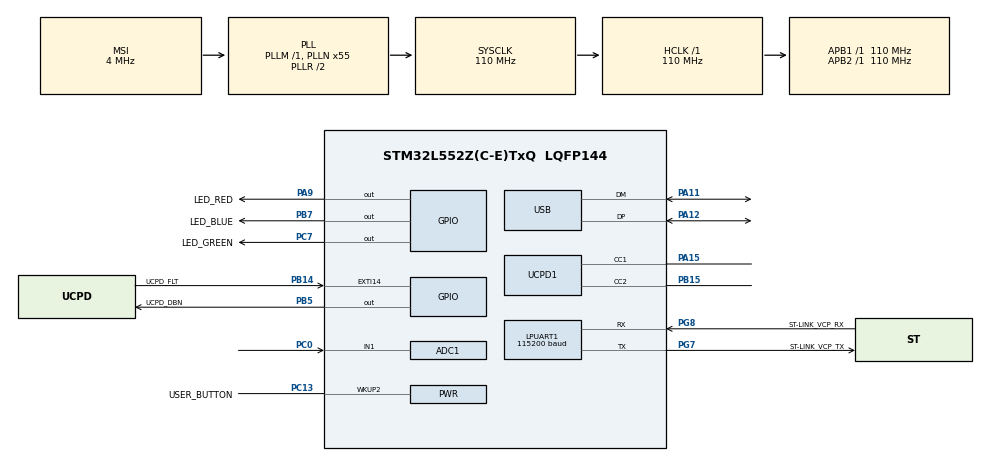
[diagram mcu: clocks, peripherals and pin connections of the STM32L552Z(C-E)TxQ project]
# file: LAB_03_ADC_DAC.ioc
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ADC1.Channel-0\#ChannelRegularConversion=ADC_CHANNEL_1
ADC1.ContinuousConvMode=DISABLE
ADC1.NbrOfConversionFlag=1
ADC1.OffsetNumber-0\#ChannelRegularConversion=ADC_OFFSET_NONE
ADC1.Rank-0\#ChannelRegularConversion=1
ADC1.SamplingTime-0\#ChannelRegularConversion=ADC_SAMPLETIME_2CYCLES_5
ADC1.master=1
LPUART1.BaudRate=115200
Mcu.Family=STM32L5
Mcu.Name=STM32L552Z(C-E)TxQ
Mcu.Package=LQFP144
Mcu.TrustZone=disable
NVIC.PriorityGroup=NVIC_PRIORITYGROUP_3
PA11.Mode=Device
PA11.Signal=USB_DM
PA12.Mode=Device
PA12.Signal=USB_DP
PA13\ (JTMS/SWDIO).Mode=Trace_Asynchronous_SW
PA13\ (JTMS/SWDIO).Signal=DEBUG_JTMS-SWDIO
PA14\ (JTCK/SWCLK).Mode=Trace_Asynchronous_SW
PA14\ (JTCK/SWCLK).Signal=DEBUG_JTCK-SWCLK
PA15\ (JTDI).Mode=Source_AllSignals
PA15\ (JTDI).Signal=UCPD1_CC1
PA9.GPIO_Label=LED_RED
PA9.Signal=GPIO_Output
PB14.GPIO_Label=UCPD_FLT
PB14.Signal=GPXTI14
PB15.Mode=Source_AllSignals
PB15.Signal=UCPD1_CC2
PB3\ (JTDO/TRACESWO).Mode=Trace_Asynchronous_SW
PB3\ (JTDO/TRACESWO).Signal=DEBUG_JTDO-SWO
PB5.GPIO_Label=UCPD_DBN
PB5.Signal=GPIO_Output
PB7.GPIO_Label=LED_BLUE
PB7.Signal=GPIO_Output
PC0.Signal=ADCx_IN1
PC13.GPIO_Label=USER_BUTTON
PC13.Mode=WakeUp1
PC13.Signal=PWR_WKUP2
PC14-OSC32_IN\ (PC14).Mode=LSE-External-Oscillator
PC14-OSC32_IN\ (PC14).Signal=RCC_OSC32_IN
PC15-OSC32_OUT\ (PC15).Mode=LSE-External-Oscillator
PC15-OSC32_OUT\ (PC15).Signal=RCC_OSC32_OUT
PC7.GPIO_Label=LED_GREEN
PC7.Signal=GPIO_Output
PG7.GPIO_Label=ST-LINK_VCP_TX
PG7.Mode=Asynchronous
PG7.Signal=LPUART1_TX
PG8.GPIO_Label=ST-LINK_VCP_RX
PG8.Mode=Asynchronous
PG8.Signal=LPUART1_RX
ProjectManager.HeapSize=0x200
ProjectManager.StackSize=0x400
ProjectManager.TargetToolchain=STM32CubeIDE
RCC.ADCCLockSelection=RCC_ADCCLKSOURCE_SYSCLK
RCC.ADCFreq_Value=110000000
RCC.AHBFreq_Value=110000000
RCC.APB1Freq_Value=110000000
RCC.APB1TimFreq_Value=110000000
RCC.APB2Freq_Value=110000000
RCC.APB2TimFreq_Value=110000000
RCC.CK48CLockSelection=RCC_USBCLKSOURCE_HSI48
RCC.CortexFreq_Value=110000000
RCC.HCLKFreq_Value=110000000
RCC.HSE_VALUE=8000000
RCC.HSI48_VALUE=48000000
RCC.HSI_VALUE=16000000
RCC.MSI_VALUE=4000000
RCC.PLLN=55
RCC.PLLSAI1N=24
RCC.RTCClockSelection=RCC_RTCCLKSOURCE_LSE
RCC.SYSCLKFreq_VALUE=110000000
RCC.SYSCLKSource=RCC_SYSCLKSOURCE_PLLCLK
RCC.USBFreq_Value=48000000
RCC.VCOOutputFreq_Value=220000000
SH.ADCx_IN1.0=ADC1_IN1,IN1-Single-Ended
VP_ICACHE_VS_ICACHE.Mode=DirectMappedCache
VP_PWR_VS_DBSignals.Mode=DisableDeadBatterySignals
VP_RTC_VS_RTC_Activate.Mode=RTC_Enabled
VREF+.Mode=InternalMode
VREF+.Signal=VREFBUF_OUT
board=NUCLEO-L552ZE-Q

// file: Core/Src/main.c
/* USER CODE BEGIN Header */
/**
  ******************************************************************************
  * @file           : main.c
  * @brief          : Main program body
  ******************************************************************************
  * @attention
  *
  * Copyright (c) 2025 STMicroelectronics.
  * All rights reserved.
  *
  * This software is licensed under terms that can be found in the LICENSE file
  * in the root directory of this software component.
  * If no LICENSE file comes with this software, it is provided AS-IS.
  *
  ******************************************************************************
  */
/* USER CODE END Header */
#include "main.h"

/* USER CODE BEGIN Includes */
#include <stdio.h>
#include <string.h>
#include <stdlib.h>

#include "EE340.h"
/* USER CODE END Includes */

/* USER CODE BEGIN PM */

// Timing Macros
#define POLL_DELAY 1000

// Calibration Factors
#define ADC_CALIBRATION_FACTOR 1.20		// 4.1V / 3.3V = 1.2424

/* USER CODE END PM */

ADC_HandleTypeDef hadc1;

UART_HandleTypeDef hlpuart1;

RTC_HandleTypeDef hrtc;

PCD_HandleTypeDef hpcd_USB_FS;

/* USER CODE BEGIN PV */

// Timers
uint32_t next_poll = 0;

/* USER CODE END PV */

void SystemClock_Config(void);
static void MX_GPIO_Init(void);
static void MX_ADC1_Init(void);
static void MX_ICACHE_Init(void);
static void MX_LPUART1_UART_Init(void);
static void MX_RTC_Init(void);
static void MX_UCPD1_Init(void);
static void MX_USB_PCD_Init(void);
/* USER CODE BEGIN PFP */

// Function Prototypes
void PrintOutput(uint32_t* raw, float* voltage);

/* USER CODE END PFP */

int main(void)
{
  /* USER CODE BEGIN 1 */

	// LAB 03 Variables
	uint32_t raw;

  /* USER CODE END 1 */

  /* MCU Configuration--------------------------------------------------------*/

  /* Reset of all peripherals, Initializes the Flash interface and the Systick. */
  HAL_Init();

  /* Configure the system clock */
  SystemClock_Config();

  /* Initialize all configured peripherals */
  MX_GPIO_Init();
  MX_ADC1_Init();
  MX_ICACHE_Init();
  MX_LPUART1_UART_Init();
  MX_RTC_Init();
  MX_UCPD1_Init();
  MX_USB_PCD_Init();
  /* USER CODE BEGIN 2 */

  // Buffer
  buffer_t BUFFER;
  INIT_Buffer(&BUFFER);

  /* USER CODE END 2 */

  /* Infinite loop */
  while (1)
  {

    /* USER CODE BEGIN 3 */

	  // Display the values to the user based on the delay macro
	  if (HAL_GetTick() > next_poll)
	  {
		  // Reset timer :)
		  next_poll = HAL_GetTick() + POLL_DELAY;

		  // Process current ADC Value
		  raw = processADC(&BUFFER);

		  // Convert ADC counts to a voltage and then apply correction factor
		  float voltage = ((raw / (float)4096) * (float)3.3) * ADC_CALIBRATION_FACTOR;
		  raw = raw * ADC_CALIBRATION_FACTOR;

		  // Display feedback to user
		  PrintOutput(&raw, &voltage);
	  }

	  // Else add new value to the buffer and update the running sum
	  else
	  {
		  // Process current ADC Value
		  processADC(&BUFFER);
	  }
  }
  /* USER CODE END 3 */
}

void SystemClock_Config(void)
{
  RCC_OscInitTypeDef RCC_OscInitStruct = {0};
  RCC_ClkInitTypeDef RCC_ClkInitStruct = {0};

  /** Configure the main internal regulator output voltage
  */
  if (HAL_PWREx_ControlVoltageScaling(PWR_REGULATOR_VOLTAGE_SCALE0) != HAL_OK)
  {
    Error_Handler();
  }

  /** Configure LSE Drive Capability
  */
  HAL_PWR_EnableBkUpAccess();
  __HAL_RCC_LSEDRIVE_CONFIG(RCC_LSEDRIVE_LOW);

  /** Initializes the RCC Oscillators according to the specified parameters
  * in the RCC_OscInitTypeDef structure.
  */
  RCC_OscInitStruct.OscillatorType = RCC_OSCILLATORTYPE_HSI48|RCC_OSCILLATORTYPE_LSE
                              |RCC_OSCILLATORTYPE_MSI;
  RCC_OscInitStruct.LSEState = RCC_LSE_ON;
  RCC_OscInitStruct.HSI48State = RCC_HSI48_ON;
  RCC_OscInitStruct.MSIState = RCC_MSI_ON;
  RCC_OscInitStruct.MSICalibrationValue = RCC_MSICALIBRATION_DEFAULT;
  RCC_OscInitStruct.MSIClockRange = RCC_MSIRANGE_6;
  RCC_OscInitStruct.PLL.PLLState = RCC_PLL_ON;
  RCC_OscInitStruct.PLL.PLLSource = RCC_PLLSOURCE_MSI;
  RCC_OscInitStruct.PLL.PLLM = 1;
  RCC_OscInitStruct.PLL.PLLN = 55;
  RCC_OscInitStruct.PLL.PLLP = RCC_PLLP_DIV7;
  RCC_OscInitStruct.PLL.PLLQ = RCC_PLLQ_DIV2;
  RCC_OscInitStruct.PLL.PLLR = RCC_PLLR_DIV2;
  if (HAL_RCC_OscConfig(&RCC_OscInitStruct) != HAL_OK)
  {
    Error_Handler();
  }

  /** Initializes the CPU, AHB and APB buses clocks
  */
  RCC_ClkInitStruct.ClockType = RCC_CLOCKTYPE_HCLK|RCC_CLOCKTYPE_SYSCLK
                              |RCC_CLOCKTYPE_PCLK1|RCC_CLOCKTYPE_PCLK2;
  RCC_ClkInitStruct.SYSCLKSource = RCC_SYSCLKSOURCE_PLLCLK;
  RCC_ClkInitStruct.AHBCLKDivider = RCC_SYSCLK_DIV1;
  RCC_ClkInitStruct.APB1CLKDivider = RCC_HCLK_DIV1;
  RCC_ClkInitStruct.APB2CLKDivider = RCC_HCLK_DIV1;

  if (HAL_RCC_ClockConfig(&RCC_ClkInitStruct, FLASH_LATENCY_5) != HAL_OK)
  {
    Error_Handler();
  }
}

static void MX_ADC1_Init(void)
{

  ADC_MultiModeTypeDef multimode = {0};
  ADC_ChannelConfTypeDef sConfig = {0};

  /** Common config
  */
  hadc1.Instance = ADC1;
  hadc1.Init.ClockPrescaler = ADC_CLOCK_ASYNC_DIV1;
  hadc1.Init.Resolution = ADC_RESOLUTION_12B;
  hadc1.Init.DataAlign = ADC_DATAALIGN_RIGHT;
  hadc1.Init.ScanConvMode = ADC_SCAN_DISABLE;
  hadc1.Init.EOCSelection = ADC_EOC_SINGLE_CONV;
  hadc1.Init.LowPowerAutoWait = DISABLE;
  hadc1.Init.ContinuousConvMode = DISABLE;
  hadc1.Init.NbrOfConversion = 1;
  hadc1.Init.DiscontinuousConvMode = DISABLE;
  hadc1.Init.ExternalTrigConv = ADC_SOFTWARE_START;
  hadc1.Init.ExternalTrigConvEdge = ADC_EXTERNALTRIGCONVEDGE_NONE;
  hadc1.Init.DMAContinuousRequests = DISABLE;
  hadc1.Init.Overrun = ADC_OVR_DATA_PRESERVED;
  hadc1.Init.OversamplingMode = DISABLE;
  if (HAL_ADC_Init(&hadc1) != HAL_OK)
  {
    Error_Handler();
  }

  /** Configure the ADC multi-mode
  */
  multimode.Mode = ADC_MODE_INDEPENDENT;
  if (HAL_ADCEx_MultiModeConfigChannel(&hadc1, &multimode) != HAL_OK)
  {
    Error_Handler();
  }

  /** Configure Regular Channel
  */
  sConfig.Channel = ADC_CHANNEL_1;
  sConfig.Rank = ADC_REGULAR_RANK_1;
  sConfig.SamplingTime = ADC_SAMPLETIME_2CYCLES_5;
  sConfig.SingleDiff = ADC_SINGLE_ENDED;
  sConfig.OffsetNumber = ADC_OFFSET_NONE;
  sConfig.Offset = 0;
  if (HAL_ADC_ConfigChannel(&hadc1, &sConfig) != HAL_OK)
  {
    Error_Handler();
  }

}

static void MX_ICACHE_Init(void)
{

  /** Enable instruction cache in 1-way (direct mapped cache)
  */
  if (HAL_ICACHE_ConfigAssociativityMode(ICACHE_1WAY) != HAL_OK)
  {
    Error_Handler();
  }
  if (HAL_ICACHE_Enable() != HAL_OK)
  {
    Error_Handler();
  }

}

static void MX_LPUART1_UART_Init(void)
{

  hlpuart1.Instance = LPUART1;
  hlpuart1.Init.BaudRate = 115200;
  hlpuart1.Init.WordLength = UART_WORDLENGTH_8B;
  hlpuart1.Init.StopBits = UART_STOPBITS_1;
  hlpuart1.Init.Parity = UART_PARITY_NONE;
  hlpuart1.Init.Mode = UART_MODE_TX_RX;
  hlpuart1.Init.HwFlowCtl = UART_HWCONTROL_NONE;
  hlpuart1.Init.OneBitSampling = UART_ONE_BIT_SAMPLE_DISABLE;
  hlpuart1.Init.ClockPrescaler = UART_PRESCALER_DIV1;
  hlpuart1.AdvancedInit.AdvFeatureInit = UART_ADVFEATURE_NO_INIT;
  hlpuart1.FifoMode = UART_FIFOMODE_DISABLE;
  if (HAL_UART_Init(&hlpuart1) != HAL_OK)
  {
    Error_Handler();
  }
  if (HAL_UARTEx_SetTxFifoThreshold(&hlpuart1, UART_TXFIFO_THRESHOLD_1_8) != HAL_OK)
  {
    Error_Handler();
  }
  if (HAL_UARTEx_SetRxFifoThreshold(&hlpuart1, UART_RXFIFO_THRESHOLD_1_8) != HAL_OK)
  {
    Error_Handler();
  }
  if (HAL_UARTEx_DisableFifoMode(&hlpuart1) != HAL_OK)
  {
    Error_Handler();
  }

}

static void MX_RTC_Init(void)
{

  RTC_PrivilegeStateTypeDef privilegeState = {0};

  /** Initialize RTC Only
  */
  hrtc.Instance = RTC;
  hrtc.Init.HourFormat = RTC_HOURFORMAT_24;
  hrtc.Init.AsynchPrediv = 127;
  hrtc.Init.SynchPrediv = 255;
  hrtc.Init.OutPut = RTC_OUTPUT_DISABLE;
  hrtc.Init.OutPutRemap = RTC_OUTPUT_REMAP_NONE;
  hrtc.Init.OutPutPolarity = RTC_OUTPUT_POLARITY_HIGH;
  hrtc.Init.OutPutType = RTC_OUTPUT_TYPE_OPENDRAIN;
  hrtc.Init.OutPutPullUp = RTC_OUTPUT_PULLUP_NONE;
  if (HAL_RTC_Init(&hrtc) != HAL_OK)
  {
    Error_Handler();
  }
  privilegeState.rtcPrivilegeFull = RTC_PRIVILEGE_FULL_NO;
  privilegeState.backupRegisterPrivZone = RTC_PRIVILEGE_BKUP_ZONE_NONE;
  privilegeState.backupRegisterStartZone2 = RTC_BKP_DR0;
  privilegeState.backupRegisterStartZone3 = RTC_BKP_DR0;
  if (HAL_RTCEx_PrivilegeModeSet(&hrtc, &privilegeState) != HAL_OK)
  {
    Error_Handler();
  }

}

static void MX_UCPD1_Init(void)
{

  LL_GPIO_InitTypeDef GPIO_InitStruct = {0};

  /* Peripheral clock enable */
  LL_APB1_GRP2_EnableClock(LL_APB1_GRP2_PERIPH_UCPD1);

  LL_AHB2_GRP1_EnableClock(LL_AHB2_GRP1_PERIPH_GPIOB);
  LL_AHB2_GRP1_EnableClock(LL_AHB2_GRP1_PERIPH_GPIOA);
  /**UCPD1 GPIO Configuration
  PB15   ------> UCPD1_CC2
  PA15 (JTDI)   ------> UCPD1_CC1
  */
  GPIO_InitStruct.Pin = LL_GPIO_PIN_15;
  GPIO_InitStruct.Mode = LL_GPIO_MODE_ANALOG;
  GPIO_InitStruct.Pull = LL_GPIO_PULL_NO;
  LL_GPIO_Init(GPIOB, &GPIO_InitStruct);

  GPIO_InitStruct.Pin = LL_GPIO_PIN_15;
  GPIO_InitStruct.Mode = LL_GPIO_MODE_ANALOG;
  GPIO_InitStruct.Pull = LL_GPIO_PULL_NO;
  LL_GPIO_Init(GPIOA, &GPIO_InitStruct);

}

static void MX_USB_PCD_Init(void)
{

  hpcd_USB_FS.Instance = USB;
  hpcd_USB_FS.Init.dev_endpoints = 8;
  hpcd_USB_FS.Init.speed = PCD_SPEED_FULL;
  hpcd_USB_FS.Init.phy_itface = PCD_PHY_EMBEDDED;
  hpcd_USB_FS.Init.Sof_enable = DISABLE;
  hpcd_USB_FS.Init.low_power_enable = DISABLE;
  hpcd_USB_FS.Init.lpm_enable = DISABLE;
  hpcd_USB_FS.Init.battery_charging_enable = DISABLE;
  if (HAL_PCD_Init(&hpcd_USB_FS) != HAL_OK)
  {
    Error_Handler();
  }

}

static void MX_GPIO_Init(void)
{
  GPIO_InitTypeDef GPIO_InitStruct = {0};

  /* GPIO Ports Clock Enable */
  __HAL_RCC_GPIOC_CLK_ENABLE();
  __HAL_RCC_GPIOB_CLK_ENABLE();
  __HAL_RCC_GPIOG_CLK_ENABLE();
  HAL_PWREx_EnableVddIO2();
  __HAL_RCC_GPIOA_CLK_ENABLE();

  /*Configure GPIO pin Output Level */
  HAL_GPIO_WritePin(LED_GREEN_GPIO_Port, LED_GREEN_Pin, GPIO_PIN_RESET);

  /*Configure GPIO pin Output Level */
  HAL_GPIO_WritePin(LED_RED_GPIO_Port, LED_RED_Pin, GPIO_PIN_RESET);

  /*Configure GPIO pin Output Level */
  HAL_GPIO_WritePin(GPIOB, UCPD_DBN_Pin|LED_BLUE_Pin, GPIO_PIN_RESET);

  /*Configure GPIO pin : UCPD_FLT_Pin */
  GPIO_InitStruct.Pin = UCPD_FLT_Pin;
  GPIO_InitStruct.Mode = GPIO_MODE_IT_RISING;
  GPIO_InitStruct.Pull = GPIO_NOPULL;
  HAL_GPIO_Init(UCPD_FLT_GPIO_Port, &GPIO_InitStruct);

  /*Configure GPIO pin : LED_GREEN_Pin */
  GPIO_InitStruct.Pin = LED_GREEN_Pin;
  GPIO_InitStruct.Mode = GPIO_MODE_OUTPUT_PP;
  GPIO_InitStruct.Pull = GPIO_NOPULL;
  GPIO_InitStruct.Speed = GPIO_SPEED_FREQ_LOW;
  HAL_GPIO_Init(LED_GREEN_GPIO_Port, &GPIO_InitStruct);

  /*Configure GPIO pin : LED_RED_Pin */
  GPIO_InitStruct.Pin = LED_RED_Pin;
  GPIO_InitStruct.Mode = GPIO_MODE_OUTPUT_PP;
  GPIO_InitStruct.Pull = GPIO_NOPULL;
  GPIO_InitStruct.Speed = GPIO_SPEED_FREQ_LOW;
  HAL_GPIO_Init(LED_RED_GPIO_Port, &GPIO_InitStruct);

  /*Configure GPIO pins : UCPD_DBN_Pin LED_BLUE_Pin */
  GPIO_InitStruct.Pin = UCPD_DBN_Pin|LED_BLUE_Pin;
  GPIO_InitStruct.Mode = GPIO_MODE_OUTPUT_PP;
  GPIO_InitStruct.Pull = GPIO_NOPULL;
  GPIO_InitStruct.Speed = GPIO_SPEED_FREQ_LOW;
  HAL_GPIO_Init(GPIOB, &GPIO_InitStruct);

}

/* USER CODE BEGIN 4 */

/*
 * Function Prototype : 			void PrintOutput(uint32_t* raw, float* voltage);
 *
 * Description :					This function takes the raw value and the voltage value and concatenates them into a
 * 										string that can be easily read by the user then it sends it over UART to the
 * 										student computer.
 *
 * Inputs :							uint32_t* raw : Pointer to raw ADC value location
 * 									float* voltage : Pointer to where voltage value is stored
 *
 * Outputs :						NONE
 *
 * Side Effects :					Data sent to external computer over UART communication
 */
void PrintOutput(uint32_t* raw, float* voltage)
{
	// Make the transmit buffer
	char tx_buffer[100];

	// Write values to buffer and Transmit, Then clear the buffer
	sprintf(tx_buffer, "[%lu]\tADC_VALUE : %lu     Voltage : %.2fV\n\r",
		  /* Time in Seconds for runtime*/				(HAL_GetTick() / 1000),
		  /* ADC count value with correction factor */	(uint32_t)*raw,
		  /* Voltage with correction factor */			*voltage);
	HAL_UART_Transmit(&hlpuart1, (uint8_t*)tx_buffer, strlen(tx_buffer), 100);
}

/* USER CODE END 4 */

void Error_Handler(void)
{
  __disable_irq();
  while (1)
  {
  }
}
